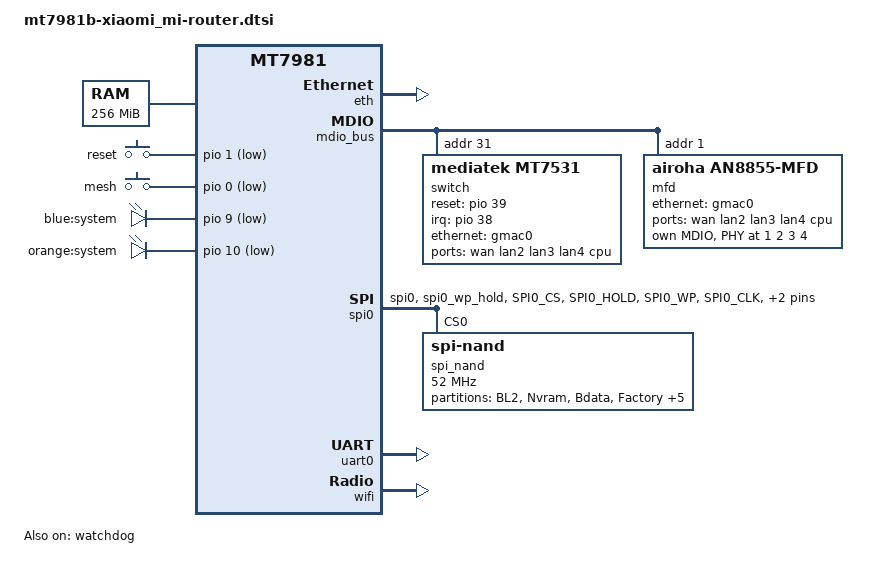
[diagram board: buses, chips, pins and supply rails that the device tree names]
// SPDX-License-Identifier: GPL-2.0-or-later OR MIT

#include <dt-bindings/gpio/gpio.h>
#include <dt-bindings/input/input.h>

#include "mt7981.dtsi"

/ {
	aliases {
		serial0 = &uart0;
		led-boot = &led_system_orange;
		led-failsafe = &led_system_blue;
		led-running = &led_system_blue;
		led-upgrade = &led_system_orange;
	};

	chosen {
		stdout-path = "serial0:115200n8";
	};

	memory {
		reg = <0 0x40000000 0 0x10000000>;
	};

	gpio-keys {
		compatible = "gpio-keys";

		reset {
			label = "reset";
			linux,code = <KEY_RESTART>;
			gpios = <&pio 1 GPIO_ACTIVE_LOW>;
		};

		mesh {
			label = "mesh";
			linux,code = <BTN_9>;
			linux,input-type = <EV_SW>;
			gpios = <&pio 0 GPIO_ACTIVE_LOW>;
		};
	};

	leds: leds {
		compatible = "gpio-leds";

		led_system_blue: system_blue {
			label = "blue:system";
			gpios = <&pio 9 GPIO_ACTIVE_LOW>;
		};

		led_system_orange: system_orange {
			label = "orange:system";
			gpios = <&pio 10 GPIO_ACTIVE_LOW>;
		};
	};
};

&eth {
	status = "okay";

	gmac0: mac@0 {
		compatible = "mediatek,eth-mac";
		reg = <0>;
		phy-mode = "2500base-x";

		fixed-link {
			speed = <2500>;
			full-duplex;
			pause;
		};
	};
};

&mdio_bus {
	switch: switch@0 {
		compatible = "mediatek,mt7531";
		reg = <31>;
		reset-gpios = <&pio 39 GPIO_ACTIVE_HIGH>;
		interrupt-controller;
		#interrupt-cells = <1>;
		interrupt-parent = <&pio>;
		interrupts = <38 IRQ_TYPE_LEVEL_HIGH>;
	};
	
	mfd: mfd@1 {
		compatible = "airoha,an8855-mfd";
		reg = <1>;
	};
};

&mfd {
	efuse {
		compatible = "airoha,an8855-efuse";
		#nvmem-cell-cells = <0>;

		nvmem-layout {
			compatible = "fixed-layout";
			#address-cells = <1>;
			#size-cells = <1>;

			shift_sel_port0_tx_a: shift-sel-port0-tx-a@c {
				reg = <0xc 0x4>;
			};

			shift_sel_port0_tx_b: shift-sel-port0-tx-b@10 {
				reg = <0x10 0x4>;
			};

			shift_sel_port0_tx_c: shift-sel-port0-tx-c@14 {
				reg = <0x14 0x4>;
			};

			shift_sel_port0_tx_d: shift-sel-port0-tx-d@18 {
				reg = <0x18 0x4>;
			};

			shift_sel_port1_tx_a: shift-sel-port1-tx-a@1c {
				reg = <0x1c 0x4>;
			};

			shift_sel_port1_tx_b: shift-sel-port1-tx-b@20 {
				reg = <0x20 0x4>;
			};

			shift_sel_port1_tx_c: shift-sel-port1-tx-c@24 {
				reg = <0x24 0x4>;
			};

			shift_sel_port1_tx_d: shift-sel-port1-tx-d@28 {
				reg = <0x28 0x4>;
			};

			shift_sel_port2_tx_a: shift-sel-port2-tx-a@2c {
				reg = <0x2c 0x4>;
			};

			shift_sel_port2_tx_b: shift-sel-port2-tx-b@30 {
				reg = <0x30 0x4>;
			};

			shift_sel_port2_tx_c: shift-sel-port2-tx-c@34 {
				reg = <0x34 0x4>;
			};

			shift_sel_port2_tx_d: shift-sel-port2-tx-d@38 {
				reg = <0x38 0x4>;
			};

			shift_sel_port3_tx_a: shift-sel-port3-tx-a@4c {
				reg = <0x4c 0x4>;
			};

			shift_sel_port3_tx_b: shift-sel-port3-tx-b@50 {
				reg = <0x50 0x4>;
			};

			shift_sel_port3_tx_c: shift-sel-port3-tx-c@54 {
				reg = <0x54 0x4>;
			};

			shift_sel_port3_tx_d: shift-sel-port3-tx-d@58 {
				reg = <0x58 0x4>;
			};
		};
	};

	ethernet-switch {
		compatible = "airoha,an8855-switch";
		reset-gpios = <&pio 39 GPIO_ACTIVE_HIGH>;
		airoha,ext-surge;

		ports {
			#address-cells = <1>;
			#size-cells = <0>;

			port@0 {
				reg = <0>;
				label = "wan";
				phy-mode = "internal";
				phy-handle = <&internal_phy1>;
			};

			port@1 {
				reg = <1>;
				label = "lan2";
				phy-mode = "internal";
				phy-handle = <&internal_phy2>;
			};

			port@2 {
				reg = <2>;
				label = "lan3";
				phy-mode = "internal";
				phy-handle = <&internal_phy3>;
			};

			port@3 {
				reg = <3>;
				label = "lan4";
				phy-mode = "internal";
				phy-handle = <&internal_phy4>;
			};

			port@5 {
				reg = <5>;
				label = "cpu";
				ethernet = <&gmac0>;
				phy-mode = "2500base-x";

				fixed-link {
					speed = <2500>;
					full-duplex;
					pause;
				};
			};
		};
	};

	mdio {
		compatible = "airoha,an8855-mdio";
		#address-cells = <1>;
		#size-cells = <0>;

		internal_phy1: phy@1 {
			reg = <1>;

			nvmem-cells = <&shift_sel_port0_tx_a>,
					<&shift_sel_port0_tx_b>,
					<&shift_sel_port0_tx_c>,
					<&shift_sel_port0_tx_d>;
			nvmem-cell-names = "tx_a", "tx_b", "tx_c", "tx_d";
		};

		internal_phy2: phy@2 {
			reg = <2>;

			nvmem-cells = <&shift_sel_port1_tx_a>,
					<&shift_sel_port1_tx_b>,
					<&shift_sel_port1_tx_c>,
					<&shift_sel_port1_tx_d>;
			nvmem-cell-names = "tx_a", "tx_b", "tx_c", "tx_d";
		};

		internal_phy3: phy@3 {
			reg = <3>;

			nvmem-cells = <&shift_sel_port2_tx_a>,
					<&shift_sel_port2_tx_b>,
					<&shift_sel_port2_tx_c>,
					<&shift_sel_port2_tx_d>;
			nvmem-cell-names = "tx_a", "tx_b", "tx_c", "tx_d";
		};

		internal_phy4: phy@4 {
			reg = <4>;

			nvmem-cells = <&shift_sel_port3_tx_a>,
					<&shift_sel_port3_tx_b>,
					<&shift_sel_port3_tx_c>,
					<&shift_sel_port3_tx_d>;
			nvmem-cell-names = "tx_a", "tx_b", "tx_c", "tx_d";
		};
	};
};

&spi0 {
	pinctrl-names = "default";
	pinctrl-0 = <&spi0_flash_pins>;
	status = "okay";

	spi_nand@0 {
		compatible = "spi-nand";
		#address-cells = <1>;
		#size-cells = <1>;
		reg = <0>;

		spi-max-frequency = <52000000>;
		spi-tx-bus-width = <4>;
		spi-rx-bus-width = <4>;

		mediatek,nmbm;
		mediatek,bmt-max-ratio = <1>;
		mediatek,bmt-max-reserved-blocks = <64>;

		partitions: partitions {
			compatible = "fixed-partitions";
			#address-cells = <1>;
			#size-cells = <1>;

			partition@0 {
				label = "BL2";
				reg = <0x0000000 0x0100000>;
				read-only;
			};

			partition@100000 {
				label = "Nvram";
				reg = <0x0100000 0x0040000>;
				read-only;
			};

			partition@140000 {
				label = "Bdata";
				reg = <0x0140000 0x0040000>;
				read-only;
			};

			factory: partition@180000 {
				label = "Factory";
				reg = <0x0180000 0x0200000>;
				read-only;

				nvmem-layout {
					compatible = "fixed-layout";
					#address-cells = <1>;
					#size-cells = <1>;

					macaddr_factory_4: macaddr@4 {
						compatible = "mac-base";
						reg = <0x4 0x6>;
						#nvmem-cell-cells = <1>;
					};
				};
			};

			partition@380000 {
				label = "FIP";
				reg = <0x0380000 0x0200000>;
				read-only;
			};

			partition@580000 {
				label = "crash";
				reg = <0x0580000 0x0040000>;
				read-only;
			};

			partition@5c0000 {
				label = "crash_log";
				reg = <0x05c0000 0x0040000>;
				read-only;
			};

			partition@600000 {
				label = "ubi";
				reg = <0x0600000 0x7000000>;
			};

			partition@7600000 {
				label = "KF";
				reg = <0x7600000 0x0040000>;
				read-only;
			};
		};
	};
};

&switch {
	ports {
		#address-cells = <1>;
		#size-cells = <0>;

		port@0 {
			reg = <0>;
			label = "wan";
		};

		port@1 {
			reg = <1>;
			label = "lan2";
		};

		port@2 {
			reg = <2>;
			label = "lan3";
		};

		port@3 {
			reg = <3>;
			label = "lan4";
		};

		port@6 {
			reg = <6>;
			label = "cpu";
			ethernet = <&gmac0>;
			phy-mode = "2500base-x";

			fixed-link {
				speed = <2500>;
				full-duplex;
				pause;
			};
		};
	};
};

&pio {
	spi0_flash_pins: spi0-pins {
		mux {
			function = "spi";
			groups = "spi0", "spi0_wp_hold";
		};

		conf-pu {
			pins = "SPI0_CS", "SPI0_HOLD", "SPI0_WP";
			drive-strength = <8>;
			mediatek,pull-up-adv = <0>; /* bias-disable */
		};

		conf-pd {
			pins = "SPI0_CLK", "SPI0_MOSI", "SPI0_MISO";
			drive-strength = <8>;
			mediatek,pull-up-adv = <0>; /* bias-disable */
		};
	};
};

&uart0 {
	status = "okay";
};

&watchdog {
	status = "okay";
};

&wifi {
	status = "okay";

	mediatek,mtd-eeprom = <&factory 0x0>;
};
